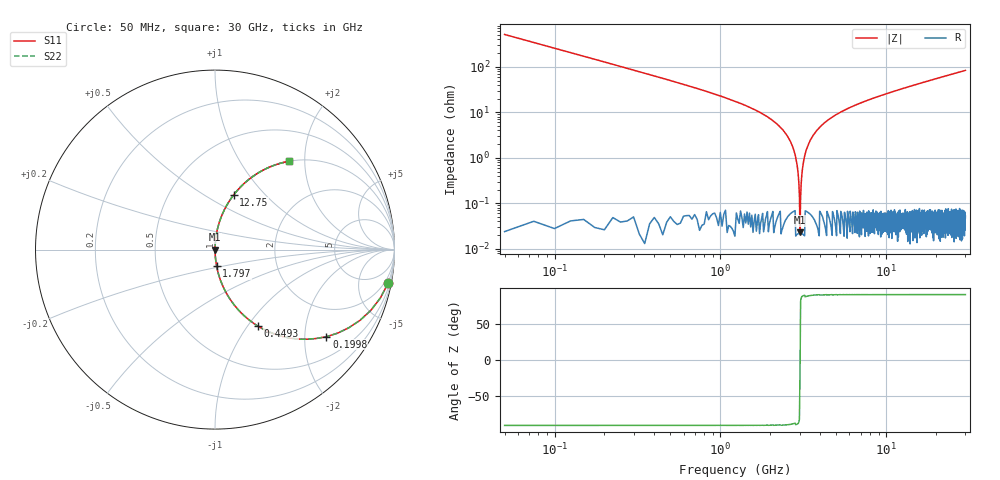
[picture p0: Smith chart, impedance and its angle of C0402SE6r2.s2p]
!	AVX Thin Film Operation 	Date: April 2014
!	Description: Accu-P® Series, Thin Film  SMD RF Capacitor
!	Part Number: 04025J6R2BBSTR
# MHZ S MA R 50
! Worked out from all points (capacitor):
!   1201 points, 50 MHz to 30 GHz, reference 50 ohm
!   read as one part in series: C = 6.2 pF near 199.8 MHz
!   lowest |Z| = 23.1 mohm at 3.02 GHz (marker M1)
!   series resonance near 3.021 GHz, so ESL is about 450 pH
!   S11 on the Smith chart (normalised r, x): 50 MHz: 1, -10; 199.8 MHz: 1.00, -2.56; 449.3 MHz: 1.00, -1.12; 1.797 GHz: 1.00, -0.18; 12.75 GHz: 1.00, +0.68; 30 GHz: 1.00, +1.67
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50  0.982 -11.0  0.191 79.0  0.191 79.0  0.982 -11.0
199.75  0.788 -38.0  0.616 52.0  0.616 52.0  0.788 -38.0
449.333  0.488 -60.8  0.873 29.2  0.873 29.2  0.488 -60.8
873.625  0.26 -74.8  0.965 15.1  0.965 15.1  0.26 -74.8
1797.083  0.092 -84.5  0.995 5.3  0.995 5.3  0.092 -84.5
2570.792  0.028 -87.5  0.999 1.6  0.999 1.6  0.028 -87.5
2770.458  0.015 -87.4  0.999 0.8  0.999 0.8  0.015 -87.4
2920.208  0.005799 -85.3  1 0.3  1 0.3  0.005799 -85.3
3020.042  0.0004457 -9.2  1 0.0  1 0.0  0.0004457 -9.2
3119.875  0.005471 85.1  1 -0.3  1 -0.3  0.005471 85.1
3219.708  0.011 87.0  1 -0.6  1 -0.6  0.011 87.0
3319.542  0.016 87.5  0.999 -0.9  0.999 -0.9  0.016 87.5
3619.042  0.031 87.4  0.999 -1.8  0.999 -1.8  0.031 87.4
4193.083  0.057 86.3  0.998 -3.2  0.998 -3.2  0.057 86.3
5041.667  0.09 84.5  0.995 -5.2  0.995 -5.2  0.09 84.5
6988.417  0.158 80.8  0.987 -9.1  0.987 -9.1  0.158 80.8
10058.29  0.249 75.5  0.968 -14.4  0.968 -14.4  0.249 75.5
12753.79  0.321 71.2  0.947 -18.7  0.947 -18.7  0.321 71.2
15025  0.376 67.9  0.926 -22.1  0.926 -22.1  0.376 67.9
20016.67  0.482 61.2  0.876 -28.8  0.876 -28.8  0.482 61.2
25033.29  0.57 55.2  0.821 -34.7  0.821 -34.7  0.57 55.2
30000  0.641 50.1  0.767 -39.9  0.767 -39.9  0.641 50.1
